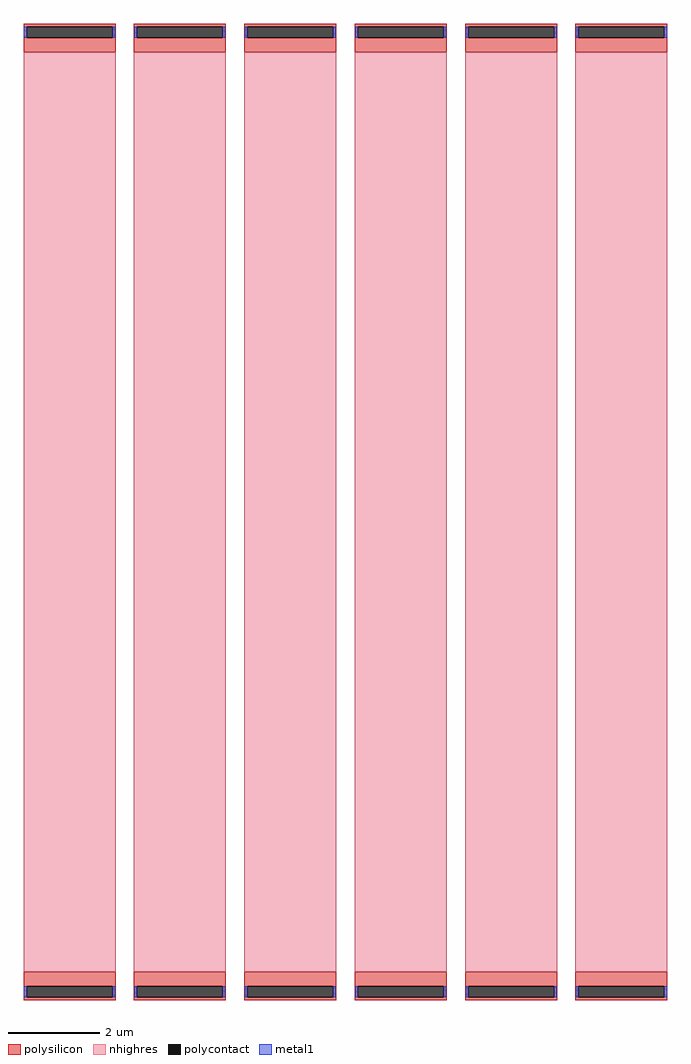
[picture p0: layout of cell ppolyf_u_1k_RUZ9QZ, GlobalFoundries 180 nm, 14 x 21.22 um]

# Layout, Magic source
magic
tech gf180mcuD
magscale 1 10
<< polysilicon >>
rect -1400 2109 -1000 2122
rect -1400 2063 -1387 2109
rect -1013 2063 -1000 2109
rect -1400 2000 -1000 2063
rect -1400 -2063 -1000 -2000
rect -1400 -2109 -1387 -2063
rect -1013 -2109 -1000 -2063
rect -1400 -2122 -1000 -2109
rect -920 2109 -520 2122
rect -920 2063 -907 2109
rect -533 2063 -520 2109
rect -920 2000 -520 2063
rect -920 -2063 -520 -2000
rect -920 -2109 -907 -2063
rect -533 -2109 -520 -2063
rect -920 -2122 -520 -2109
rect -440 2109 -40 2122
rect -440 2063 -427 2109
rect -53 2063 -40 2109
rect -440 2000 -40 2063
rect -440 -2063 -40 -2000
rect -440 -2109 -427 -2063
rect -53 -2109 -40 -2063
rect -440 -2122 -40 -2109
rect 40 2109 440 2122
rect 40 2063 53 2109
rect 427 2063 440 2109
rect 40 2000 440 2063
rect 40 -2063 440 -2000
rect 40 -2109 53 -2063
rect 427 -2109 440 -2063
rect 40 -2122 440 -2109
rect 520 2109 920 2122
rect 520 2063 533 2109
rect 907 2063 920 2109
rect 520 2000 920 2063
rect 520 -2063 920 -2000
rect 520 -2109 533 -2063
rect 907 -2109 920 -2063
rect 520 -2122 920 -2109
rect 1000 2109 1400 2122
rect 1000 2063 1013 2109
rect 1387 2063 1400 2109
rect 1000 2000 1400 2063
rect 1000 -2063 1400 -2000
rect 1000 -2109 1013 -2063
rect 1387 -2109 1400 -2063
rect 1000 -2122 1400 -2109
<< polycontact >>
rect -1387 2063 -1013 2109
rect -1387 -2109 -1013 -2063
rect -907 2063 -533 2109
rect -907 -2109 -533 -2063
rect -427 2063 -53 2109
rect -427 -2109 -53 -2063
rect 53 2063 427 2109
rect 53 -2109 427 -2063
rect 533 2063 907 2109
rect 533 -2109 907 -2063
rect 1013 2063 1387 2109
rect 1013 -2109 1387 -2063
<< nhighres >>
rect -1400 -2000 -1000 2000
rect -920 -2000 -520 2000
rect -440 -2000 -40 2000
rect 40 -2000 440 2000
rect 520 -2000 920 2000
rect 1000 -2000 1400 2000
<< metal1 >>
rect -1398 2063 -1387 2109
rect -1013 2063 -1002 2109
rect -918 2063 -907 2109
rect -533 2063 -522 2109
rect -438 2063 -427 2109
rect -53 2063 -42 2109
rect 42 2063 53 2109
rect 427 2063 438 2109
rect 522 2063 533 2109
rect 907 2063 918 2109
rect 1002 2063 1013 2109
rect 1387 2063 1398 2109
rect -1398 -2109 -1387 -2063
rect -1013 -2109 -1002 -2063
rect -918 -2109 -907 -2063
rect -533 -2109 -522 -2063
rect -438 -2109 -427 -2063
rect -53 -2109 -42 -2063
rect 42 -2109 53 -2063
rect 427 -2109 438 -2063
rect 522 -2109 533 -2063
rect 907 -2109 918 -2063
rect 1002 -2109 1013 -2063
rect 1387 -2109 1398 -2063
<< properties >>
string FIXED_BBOX -1576 -2298 1576 2298
string gencell ppolyf_u_1k
string library gf180mcu
string parameters w 2 l 20 m 1 nx 6 wmin 1.000 lmin 1.000 class resistor rho 1000 val 10.0k dummy 0 dw 0.0 term 0.0 sterm 0.0 caplen 0.4 snake 0 glc 0 grc 0 gtc 0 gbc 0 roverlap 1 endcov 100 full_metal 0 compatible {ppolyf_u_1k ppolyf_u_1k_6p0}
<< end >>
